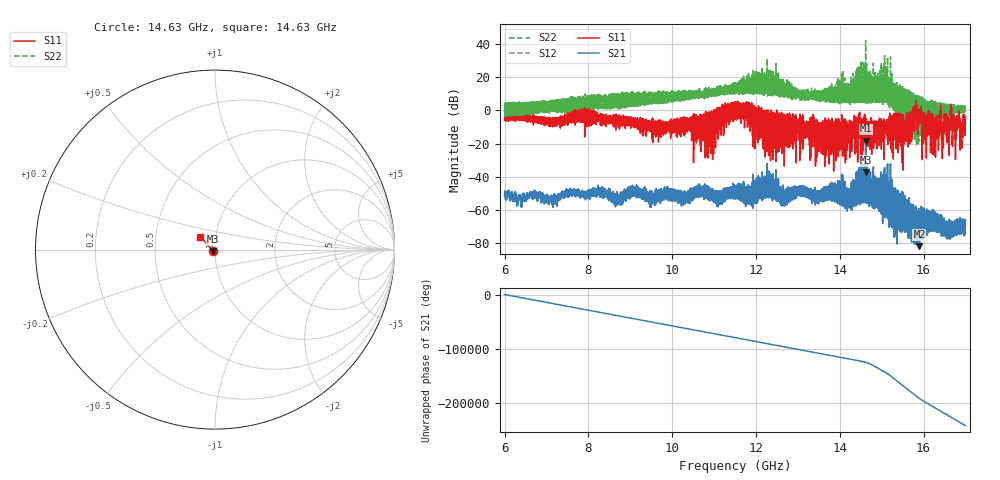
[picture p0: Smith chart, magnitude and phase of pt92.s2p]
#  HZ  S  RI  R  50.00
! Rohde & Schwarz Vector Network Analyzer
! Rohde-Schwarz,ZNA67-2Port,1332450062101215,3.01
! Created: UTC 10/19/2026, 11:02:42 AM
! freq[Hz]  re:S11  im:S11  re:S21  im:S21  re:S12  im:S12  re:S22  im:S22
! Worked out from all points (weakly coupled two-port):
!   11001 points, 6 GHz to 17 GHz, reference 50 ohm
!   highest |S21| = -18.28 dB at 14.62 GHz (marker M1); lowest = -81.6 dB at 15.9 GHz (marker M2)
!   lowest |S11| = -37.3 dB at 14.63 GHz (marker M3), VSWR 1.03, Z = 49 - j0.896 ohm
!   |S11| at or under -10 dB: 13.46876 GHz to 13.49479 GHz (26.03 MHz wide, 0.193 % of centre); 13.60956 GHz to 13.63394 GHz (24.38 MHz wide, 0.179 % of centre); 13.92243 GHz to 13.94882 GHz (26.39 MHz wide, 0.189 % of centre) (the widest 3 of 518)
!   |S22| runs from -21.2 to 42.0 dB; largest |S21 - S12| = 0.0046
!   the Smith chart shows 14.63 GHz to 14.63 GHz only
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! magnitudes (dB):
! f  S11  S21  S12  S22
! 6 GHz  -5.8  -50.6  -50.6  3.4
! 7.118 GHz  -7.9  -53.8  -53.7  3.0
! 7.834 GHz  -3.4  -50.3  -50.1  7.7
! 9.667 GHz  -6.1  -49.2  -49.4  11.9
! 10.87 GHz  -1.8  -52.1  -52.2  8.6
! 11.11 GHz  -1.9  -52.6  -52.8  11.1
! 11.5 GHz  5.0  -49.5  -49.4  12.6
! 11.89 GHz  -0.8  -54.7  -54.9  11.3
! 12.44 GHz  -2.8  -47.9  -47.8  16.0
! 13.33 GHz  -12.5  -52.8  -52.6  8.6
! 14.23 GHz  -5.8  -58.2  -58.8  6.1
! 14.62 GHz  -4.7  -18.3  -18.3  42.0
! 14.63 GHz  -37.3  -52.9  -52.7  8.8
! 15.17 GHz  -14.6  -62.2  -62.2  5.9
! 15.53 GHz  -7.6  -60.4  -60.3  4.8
! 15.68 GHz  -3.3  -56.0  -55.7  10.4
! 15.79 GHz  -5.9  -66.6  -66.3  1.6
! 15.9 GHz  -3.1  -81.6  -80.8  -18.7
! 16.23 GHz  -9.2  -63.6  -64.0  3.0
! 16.69 GHz  -15.9  -70.5  -70.6  1.5
! 16.91 GHz  -20.0  -66.9  -66.6  2.0
! 17 GHz  -3.8  -69.3  -69.3  1.6
